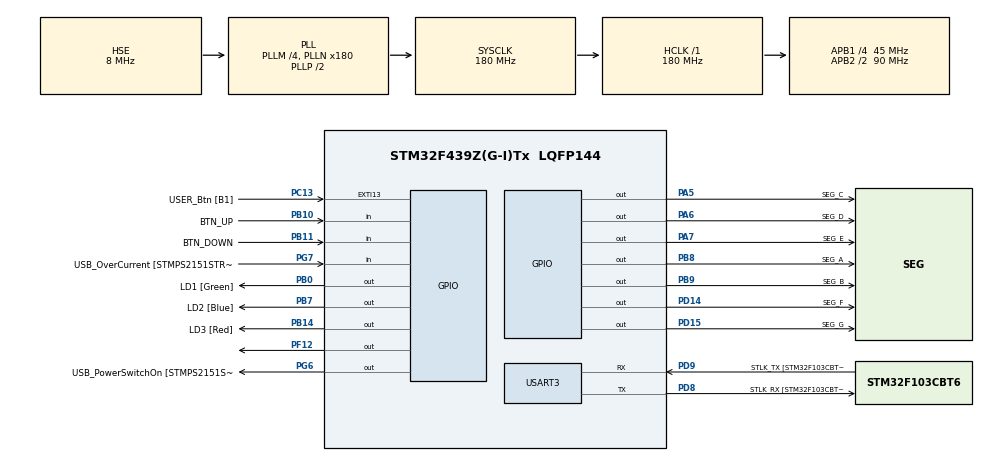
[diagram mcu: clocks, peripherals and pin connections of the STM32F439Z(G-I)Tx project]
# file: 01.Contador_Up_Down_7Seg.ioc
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Mcu.Family=STM32F4
Mcu.Name=STM32F439Z(G-I)Tx
Mcu.Package=LQFP144
NVIC.PriorityGroup=NVIC_PRIORITYGROUP_4
PA13.GPIO_Label=TMS
PA13.Mode=Serial_Wire
PA13.Signal=SYS_JTMS-SWDIO
PA14.GPIO_Label=TCK
PA14.Mode=Serial_Wire
PA14.Signal=SYS_JTCK-SWCLK
PA5.GPIO_Label=SEG_C
PA5.Signal=GPIO_Output
PA6.GPIO_Label=SEG_D
PA6.Signal=GPIO_Output
PA7.GPIO_Label=SEG_E
PA7.Signal=GPIO_Output
PB0.GPIO_Label=LD1 [Green]
PB0.Signal=GPIO_Output
PB10.GPIO_Label=BTN_UP
PB10.GPIO_PuPd=GPIO_PULLUP
PB10.Signal=GPIO_Input
PB11.GPIO_Label=BTN_DOWN
PB11.GPIO_PuPd=GPIO_PULLUP
PB11.Signal=GPIO_Input
PB14.GPIO_Label=LD3 [Red]
PB14.Signal=GPIO_Output
PB7.GPIO_Label=LD2 [Blue]
PB7.Signal=GPIO_Output
PB8.GPIO_Label=SEG_A
PB8.Signal=GPIO_Output
PB9.GPIO_Label=SEG_B
PB9.Signal=GPIO_Output
PC13.GPIO_Label=USER_Btn [B1]
PC13.Signal=GPXTI13
PC14/OSC32_IN.Mode=LSE-External-Oscillator
PC14/OSC32_IN.Signal=RCC_OSC32_IN
PC15/OSC32_OUT.Mode=LSE-External-Oscillator
PC15/OSC32_OUT.Signal=RCC_OSC32_OUT
PD14.GPIO_Label=SEG_F
PD14.Signal=GPIO_Output
PD15.GPIO_Label=SEG_G
PD15.Signal=GPIO_Output
PD8.GPIO_Label=STLK_RX [STM32F103CBT6_PA3]
PD8.Mode=Asynchronous
PD8.Signal=USART3_TX
PD9.GPIO_Label=STLK_TX [STM32F103CBT6_PA2]
PD9.Mode=Asynchronous
PD9.Signal=USART3_RX
PF12.Signal=GPIO_Output
PG6.GPIO_Label=USB_PowerSwitchOn [STMPS2151STR_EN]
PG6.Signal=GPIO_Output
PG7.GPIO_Label=USB_OverCurrent [STMPS2151STR_FAULT]
PG7.Signal=GPIO_Input
PH0/OSC_IN.GPIO_Label=MCO [STM32F103CBT6_PA8]
PH0/OSC_IN.Mode=HSE-External-Oscillator
PH0/OSC_IN.Signal=RCC_OSC_IN
PH1/OSC_OUT.Mode=HSE-External-Oscillator
PH1/OSC_OUT.Signal=RCC_OSC_OUT
ProjectManager.HeapSize=0x200
ProjectManager.StackSize=0x400
ProjectManager.TargetToolchain=STM32CubeIDE
RCC.48MHZClocksFreq_Value=51428571.428571425
RCC.AHBFreq_Value=180000000
RCC.APB1CLKDivider=RCC_HCLK_DIV4
RCC.APB1Freq_Value=45000000
RCC.APB1TimFreq_Value=90000000
RCC.APB2CLKDivider=RCC_HCLK_DIV2
RCC.APB2Freq_Value=90000000
RCC.APB2TimFreq_Value=180000000
RCC.CortexFreq_Value=180000000
RCC.HCLKFreq_Value=180000000
RCC.HSE_VALUE=8000000
RCC.HSI_VALUE=16000000
RCC.PLLM=4
RCC.PLLMUL=RCC_PLL_MUL9
RCC.PLLN=180
RCC.PLLQ=7
RCC.PLLSourceVirtual=RCC_PLLSOURCE_HSE
RCC.PRESCALERUSB=RCC_USBCLKSOURCE_PLL_DIV1_5
RCC.SYSCLKFreq_VALUE=180000000
RCC.SYSCLKSource=RCC_SYSCLKSOURCE_PLLCLK
RCC.SYSCLKSourceVirtual=RCC_SYSCLKSOURCE_PLLCLK
RCC.USBFreq_Value=48000000
RCC.VCOOutputFreq_Value=360000000
USART3.VirtualMode=VM_ASYNC
board=NUCLEO-F439ZI

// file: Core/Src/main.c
/* USER CODE BEGIN Header */
/**
  ******************************************************************************
  * @file           : main.c
  * @brief          : Main program body
  ******************************************************************************
  * @attention
  *
  * Copyright (c) 2026 STMicroelectronics.
  * All rights reserved.
  *
  * This software is licensed under terms that can be found in the LICENSE file
  * in the root directory of this software component.
  * If no LICENSE file comes with this software, it is provided AS-IS.
  *
  ******************************************************************************
  */
/* USER CODE END Header */
#include "main.h"

/* USER CODE BEGIN Includes */

#include <stdio.h>
#include <string.h>

/* USER CODE END Includes */

/* USER CODE BEGIN PTD */

// Representa un pin físico individual
typedef struct {
    GPIO_TypeDef* port;  // GPIOA, GPIOB, etc.
    uint16_t pin;       // GPIO_PIN_0, etc.
} GPIO_Config_t;

// Representa el display de catado comun
typedef struct {
    GPIO_Config_t* leds; // Puntero a un arreglo de configuraciones
} Display_t;

/* USER CODE END PTD */

UART_HandleTypeDef huart3;

/* USER CODE BEGIN PV */

uint8_t contador = 0;
uint8_t btn_up_last = 1;
uint8_t btn_down_last = 1;

/* Mapa de bits para Cátodo Común (1 = Encendido) */
/* Orden de bits: 0 g f e d c b a */
const uint8_t segmento_map[] = {
    0x3F, // 0: 0011 1111
    0x06, // 1: 0000 0110
    0x5B, // 2: 0101 1011
    0x4F, // 3: 0100 1111
    0x66, // 4: 0110 0110
    0x6D, // 5: 0110 1101
    0x7D, // 6: 0111 1101
    0x07, // 7: 0000 0111
    0x7F, // 8: 0111 1111
    0x6F  // 9: 0110 1111
};

#define MAX_DIGITOS (sizeof(segmento_map) / sizeof(segmento_map[0]))

// Mapeo físico: Conecta los segmentos A-G a los pines que prefieras
GPIO_Config_t pines_display[] = {
    {SEG_A_GPIO_Port, SEG_A_Pin}, // Segmento A
    {SEG_B_GPIO_Port, SEG_B_Pin}, // Segmento B
    {SEG_C_GPIO_Port, SEG_C_Pin}, // Segmento C
    {SEG_D_GPIO_Port, SEG_D_Pin}, // Segmento D
    {SEG_E_GPIO_Port, SEG_E_Pin}, // Segmento E
    {SEG_F_GPIO_Port, SEG_F_Pin}, // Segmento F
    {SEG_G_GPIO_Port, SEG_G_Pin}  // Segmento G
};
#define SEGMENT_COUNT (sizeof(pines_display) / sizeof(pines_display[0]))

Display_t miDisplay = {pines_display};

/* USER CODE END PV */

void SystemClock_Config(void);
static void MX_GPIO_Init(void);
static void MX_USART3_UART_Init(void);
/* USER CODE BEGIN PFP */

/* Prototipos */
void Debug_Log(const char *msg);

/* Función de escritura de dígito */
void Display_Write(uint8_t numero);
void Display_Blink(uint8_t numero, uint8_t repeticiones);
/* USER CODE END PFP */

/* USER CODE BEGIN 0 */

/* Función de escritura de dígito */
void Display_Write(uint8_t numero) {
    if (numero >= MAX_DIGITOS) return; // Protección

    uint8_t patron = segmento_map[numero];

    for (int i = 0; i < SEGMENT_COUNT; i++) {
        // Extraemos el bit 'i' usando desplazamiento y máscara
        uint8_t estado = (patron >> i) & 0x01;
        HAL_GPIO_WritePin(miDisplay.leds[i].port, miDisplay.leds[i].pin, estado);
    }
}

void Display_Blink(uint8_t numero, uint8_t repeticiones) {
    for (int i = 0; i < repeticiones; i++) {
        // Apagar todos los segmentos (Iteramos sobre nuestra estructura)
        for (int j = 0; j < SEGMENT_COUNT; j++) {
            HAL_GPIO_WritePin(miDisplay.leds[j].port, miDisplay.leds[j].pin, GPIO_PIN_RESET);
        }
        HAL_Delay(150); // Tiempo apagado

        // Volver a encender el número
        Display_Write(numero);
        HAL_Delay(150); // Tiempo encendido
    }
}

void Debug_Log(const char *msg) {
    HAL_UART_Transmit(&huart3, (uint8_t*)msg, strlen(msg), 100);
}

/* USER CODE END 0 */

int main(void)
{

  /* MCU Configuration--------------------------------------------------------*/

  /* Reset of all peripherals, Initializes the Flash interface and the Systick. */
  HAL_Init();

  /* Configure the system clock */
  SystemClock_Config();

  /* Initialize all configured peripherals */
  MX_GPIO_Init();
  MX_USART3_UART_Init();
  /* USER CODE BEGIN 2 */
  Display_Write(0);
  /* USER CODE END 2 */

  /* Infinite loop */
  while (1)
  {

    /* USER CODE BEGIN 3 */

	  uint8_t btn_up_now = HAL_GPIO_ReadPin(BTN_UP_GPIO_Port, BTN_UP_Pin);
	  uint8_t btn_down_now = HAL_GPIO_ReadPin(BTN_DOWN_GPIO_Port, BTN_DOWN_Pin);

	  // 1. Detección de flanco (Transición de 1 a 0)
	  if ((btn_up_now == 0 && btn_up_last == 1) || (btn_down_now == 0 && btn_down_last == 1))
	  {
	      HAL_Delay(50); // Debounce simple (mejorable con timers)

	      // Volvemos a leer después del debounce
	      btn_up_now = HAL_GPIO_ReadPin(BTN_UP_GPIO_Port, BTN_UP_Pin);
	      btn_down_now = HAL_GPIO_ReadPin(BTN_DOWN_GPIO_Port, BTN_DOWN_Pin);

	      // 2. Lógica de decisión
	      if (btn_up_now == 0 && btn_down_now == 0) {
	          contador = 0;
	          Debug_Log("ACCION: RESET\r\n");
	      }
	      else if (btn_up_now == 0) {
	          if (contador < 9) {
	              contador++;
	              Debug_Log("ACCION: UP\r\n");
	          } else {
	              Display_Blink(9, 2);
	          }
	      }
	      else if (btn_down_now == 0) {
	          if (contador > 0) {
	              contador--;
	              Debug_Log("ACCION: DOWN\r\n");
	          } else {
	              Display_Blink(0, 2);
	          }
	      }
	      Display_Write(contador);
	  }

	  // 3. Actualizar estado anterior para la siguiente vuelta
	  btn_up_last = btn_up_now;
	  btn_down_last = btn_down_now;
  }
  /* USER CODE END 3 */
}

void SystemClock_Config(void)
{
  RCC_OscInitTypeDef RCC_OscInitStruct = {0};
  RCC_ClkInitTypeDef RCC_ClkInitStruct = {0};

  /** Configure the main internal regulator output voltage
  */
  __HAL_RCC_PWR_CLK_ENABLE();
  __HAL_PWR_VOLTAGESCALING_CONFIG(PWR_REGULATOR_VOLTAGE_SCALE1);

  /** Initializes the RCC Oscillators according to the specified parameters
  * in the RCC_OscInitTypeDef structure.
  */
  RCC_OscInitStruct.OscillatorType = RCC_OSCILLATORTYPE_HSE;
  RCC_OscInitStruct.HSEState = RCC_HSE_ON;
  RCC_OscInitStruct.PLL.PLLState = RCC_PLL_ON;
  RCC_OscInitStruct.PLL.PLLSource = RCC_PLLSOURCE_HSE;
  RCC_OscInitStruct.PLL.PLLM = 4;
  RCC_OscInitStruct.PLL.PLLN = 180;
  RCC_OscInitStruct.PLL.PLLP = RCC_PLLP_DIV2;
  RCC_OscInitStruct.PLL.PLLQ = 7;
  if (HAL_RCC_OscConfig(&RCC_OscInitStruct) != HAL_OK)
  {
    Error_Handler();
  }

  /** Activate the Over-Drive mode
  */
  if (HAL_PWREx_EnableOverDrive() != HAL_OK)
  {
    Error_Handler();
  }

  /** Initializes the CPU, AHB and APB buses clocks
  */
  RCC_ClkInitStruct.ClockType = RCC_CLOCKTYPE_HCLK|RCC_CLOCKTYPE_SYSCLK
                              |RCC_CLOCKTYPE_PCLK1|RCC_CLOCKTYPE_PCLK2;
  RCC_ClkInitStruct.SYSCLKSource = RCC_SYSCLKSOURCE_PLLCLK;
  RCC_ClkInitStruct.AHBCLKDivider = RCC_SYSCLK_DIV1;
  RCC_ClkInitStruct.APB1CLKDivider = RCC_HCLK_DIV4;
  RCC_ClkInitStruct.APB2CLKDivider = RCC_HCLK_DIV2;

  if (HAL_RCC_ClockConfig(&RCC_ClkInitStruct, FLASH_LATENCY_5) != HAL_OK)
  {
    Error_Handler();
  }
}

static void MX_USART3_UART_Init(void)
{

  huart3.Instance = USART3;
  huart3.Init.BaudRate = 115200;
  huart3.Init.WordLength = UART_WORDLENGTH_8B;
  huart3.Init.StopBits = UART_STOPBITS_1;
  huart3.Init.Parity = UART_PARITY_NONE;
  huart3.Init.Mode = UART_MODE_TX_RX;
  huart3.Init.HwFlowCtl = UART_HWCONTROL_NONE;
  huart3.Init.OverSampling = UART_OVERSAMPLING_16;
  if (HAL_UART_Init(&huart3) != HAL_OK)
  {
    Error_Handler();
  }

}

static void MX_GPIO_Init(void)
{
  GPIO_InitTypeDef GPIO_InitStruct = {0};

  /* GPIO Ports Clock Enable */
  __HAL_RCC_GPIOC_CLK_ENABLE();
  __HAL_RCC_GPIOH_CLK_ENABLE();
  __HAL_RCC_GPIOA_CLK_ENABLE();
  __HAL_RCC_GPIOB_CLK_ENABLE();
  __HAL_RCC_GPIOF_CLK_ENABLE();
  __HAL_RCC_GPIOD_CLK_ENABLE();
  __HAL_RCC_GPIOG_CLK_ENABLE();

  /*Configure GPIO pin Output Level */
  HAL_GPIO_WritePin(GPIOA, SEG_C_Pin|SEG_D_Pin|SEG_E_Pin, GPIO_PIN_RESET);

  /*Configure GPIO pin Output Level */
  HAL_GPIO_WritePin(GPIOB, LD1_Pin|LD3_Pin|LD2_Pin|SEG_A_Pin
                          |SEG_B_Pin, GPIO_PIN_RESET);

  /*Configure GPIO pin Output Level */
  HAL_GPIO_WritePin(GPIOF, GPIO_PIN_12, GPIO_PIN_RESET);

  /*Configure GPIO pin Output Level */
  HAL_GPIO_WritePin(GPIOD, SEG_F_Pin|SEG_G_Pin, GPIO_PIN_RESET);

  /*Configure GPIO pin Output Level */
  HAL_GPIO_WritePin(USB_PowerSwitchOn_GPIO_Port, USB_PowerSwitchOn_Pin, GPIO_PIN_RESET);

  /*Configure GPIO pin : USER_Btn_Pin */
  GPIO_InitStruct.Pin = USER_Btn_Pin;
  GPIO_InitStruct.Mode = GPIO_MODE_IT_RISING;
  GPIO_InitStruct.Pull = GPIO_NOPULL;
  HAL_GPIO_Init(USER_Btn_GPIO_Port, &GPIO_InitStruct);

  /*Configure GPIO pins : SEG_C_Pin SEG_D_Pin SEG_E_Pin */
  GPIO_InitStruct.Pin = SEG_C_Pin|SEG_D_Pin|SEG_E_Pin;
  GPIO_InitStruct.Mode = GPIO_MODE_OUTPUT_PP;
  GPIO_InitStruct.Pull = GPIO_NOPULL;
  GPIO_InitStruct.Speed = GPIO_SPEED_FREQ_LOW;
  HAL_GPIO_Init(GPIOA, &GPIO_InitStruct);

  /*Configure GPIO pins : LD1_Pin LD3_Pin LD2_Pin SEG_A_Pin
                           SEG_B_Pin */
  GPIO_InitStruct.Pin = LD1_Pin|LD3_Pin|LD2_Pin|SEG_A_Pin
                          |SEG_B_Pin;
  GPIO_InitStruct.Mode = GPIO_MODE_OUTPUT_PP;
  GPIO_InitStruct.Pull = GPIO_NOPULL;
  GPIO_InitStruct.Speed = GPIO_SPEED_FREQ_LOW;
  HAL_GPIO_Init(GPIOB, &GPIO_InitStruct);

  /*Configure GPIO pin : PF12 */
  GPIO_InitStruct.Pin = GPIO_PIN_12;
  GPIO_InitStruct.Mode = GPIO_MODE_OUTPUT_PP;
  GPIO_InitStruct.Pull = GPIO_NOPULL;
  GPIO_InitStruct.Speed = GPIO_SPEED_FREQ_LOW;
  HAL_GPIO_Init(GPIOF, &GPIO_InitStruct);

  /*Configure GPIO pins : BTN_UP_Pin BTN_DOWN_Pin */
  GPIO_InitStruct.Pin = BTN_UP_Pin|BTN_DOWN_Pin;
  GPIO_InitStruct.Mode = GPIO_MODE_INPUT;
  GPIO_InitStruct.Pull = GPIO_PULLUP;
  HAL_GPIO_Init(GPIOB, &GPIO_InitStruct);

  /*Configure GPIO pins : SEG_F_Pin SEG_G_Pin */
  GPIO_InitStruct.Pin = SEG_F_Pin|SEG_G_Pin;
  GPIO_InitStruct.Mode = GPIO_MODE_OUTPUT_PP;
  GPIO_InitStruct.Pull = GPIO_NOPULL;
  GPIO_InitStruct.Speed = GPIO_SPEED_FREQ_LOW;
  HAL_GPIO_Init(GPIOD, &GPIO_InitStruct);

  /*Configure GPIO pin : USB_PowerSwitchOn_Pin */
  GPIO_InitStruct.Pin = USB_PowerSwitchOn_Pin;
  GPIO_InitStruct.Mode = GPIO_MODE_OUTPUT_PP;
  GPIO_InitStruct.Pull = GPIO_NOPULL;
  GPIO_InitStruct.Speed = GPIO_SPEED_FREQ_LOW;
  HAL_GPIO_Init(USB_PowerSwitchOn_GPIO_Port, &GPIO_InitStruct);

  /*Configure GPIO pin : USB_OverCurrent_Pin */
  GPIO_InitStruct.Pin = USB_OverCurrent_Pin;
  GPIO_InitStruct.Mode = GPIO_MODE_INPUT;
  GPIO_InitStruct.Pull = GPIO_NOPULL;
  HAL_GPIO_Init(USB_OverCurrent_GPIO_Port, &GPIO_InitStruct);

}

void Error_Handler(void)
{
  __disable_irq();
  while (1)
  {
  }
}
